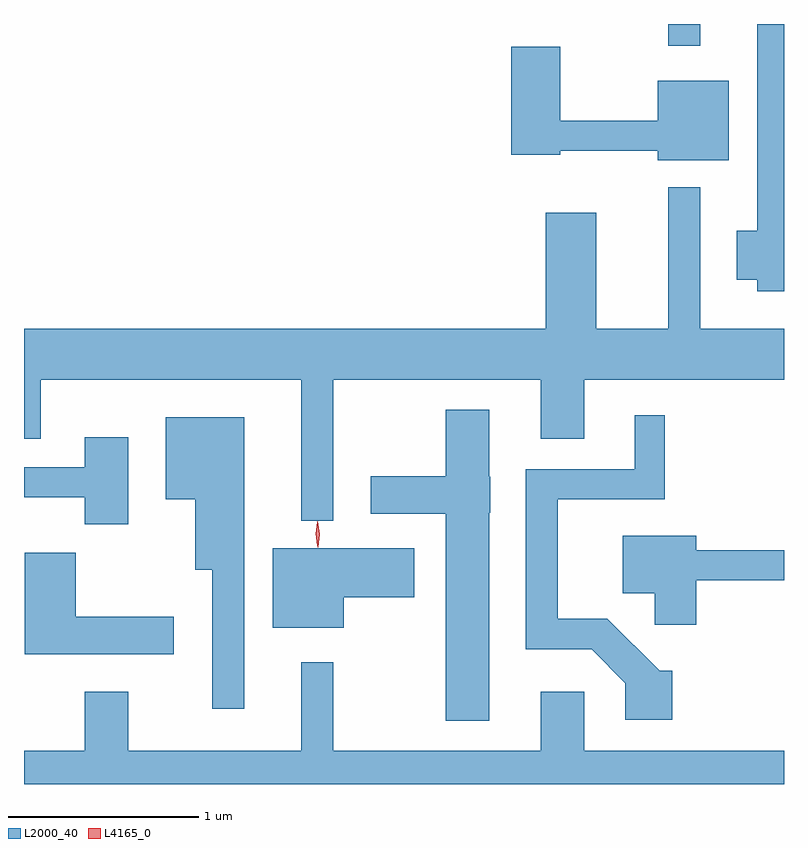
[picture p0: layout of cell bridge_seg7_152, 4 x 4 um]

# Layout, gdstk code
import gdstk
lib = gdstk.Library(unit=1e-6, precision=1e-09)
def R(c, l, rs):  # rectangles x0, y0, x1, y1
    for r in rs: c.add(gdstk.rectangle(r[:2], r[2:], *l))
def P(c, l, *ps):  # polygons
    for p in ps: c.add(gdstk.Polygon(p, *l))
L2000_40 = (2000, 40)
L4165_0 = (4165, 0)

bridge_seg7_152 = lib.new_cell('bridge_seg7_152')
R(bridge_seg7_152, L2000_40, [(1634.301,1720.513,1634.469,1720.628)])
P(bridge_seg7_152, L2000_40, [(1634.911,1720.628),(1634.771,1720.628),(1634.771,1719.539),(1634.661,1719.539),(1634.661,1719.281),(1634.771,1719.281),(1634.771,1719.221),(1634.911,1719.221)],
  [(1634.619,1720.329),(1634.246,1720.329),(1634.246,1720.119),(1633.734,1720.119),(1633.734,1720.509),(1633.476,1720.509),(1633.476,1719.941),(1633.734,1719.941),(1633.734,1719.961),(1634.246,1719.961),(1634.246,1719.911),(1634.619,1719.911)],
  [(1632.539,1718.756),(1633.631,1718.756),(1633.631,1718.446),(1633.859,1718.446),(1633.859,1718.756),(1634.911,1718.756),(1634.911,1719.024),(1634.469,1719.024),(1634.469,1719.768),(1634.301,1719.768),(1634.301,1719.024),(1633.924,1719.024),(1633.924,1719.634),(1633.656,1719.634),(1633.656,1719.024),(1630.911,1719.024),(1630.911,1718.446),(1630.999,1718.446),(1630.999,1718.756),(1632.371,1718.756),(1632.371,1718.013),(1632.539,1718.013)],
  [(1633.359,1718.055),(1633.364,1718.055),(1633.364,1718.245),(1633.359,1718.245),(1633.359,1718.599),(1633.131,1718.599),(1633.131,1718.249),(1632.736,1718.249),(1632.736,1718.051),(1633.131,1718.051),(1633.131,1716.961),(1633.359,1716.961)],
  [(1634.324,1717.224),(1634.257,1717.224),(1633.982,1717.499),(1633.719,1717.499),(1633.719,1718.126),(1634.284,1718.126),(1634.284,1718.568),(1634.126,1718.568),(1634.126,1718.284),(1633.551,1718.284),(1633.551,1717.336),(1633.899,1717.336),(1634.076,1717.159),(1634.076,1716.966),(1634.324,1716.966)],
  [(1632.069,1718.559),(1631.656,1718.559),(1631.656,1718.126),(1631.811,1718.126),(1631.811,1717.756),(1631.901,1717.756),(1631.901,1717.023),(1632.069,1717.023)],
  [(1631.459,1718.454),(1631.231,1718.454),(1631.231,1718.294),(1630.911,1718.294),(1630.911,1718.136),(1631.231,1718.136),(1631.231,1717.996),(1631.459,1717.996)],
  [(1634.449,1717.701),(1634.911,1717.701),(1634.911,1717.859),(1634.449,1717.859),(1634.449,1717.934),(1634.061,1717.934),(1634.061,1717.631),(1634.231,1717.631),(1634.231,1717.466),(1634.449,1717.466)],
  [(1632.594,1717.611),(1632.964,1717.611),(1632.964,1717.869),(1632.221,1717.869),(1632.221,1717.451),(1632.594,1717.451)],
  [(1631.699,1717.509),(1631.184,1717.509),(1631.184,1717.844),(1630.916,1717.844),(1630.916,1717.311),(1631.699,1717.311)],
  [(1634.911,1716.804),(1633.859,1716.804),(1633.859,1717.114),(1633.631,1717.114),(1633.631,1716.804),(1632.539,1716.804),(1632.539,1717.268),(1632.371,1717.268),(1632.371,1716.804),(1631.459,1716.804),(1631.459,1717.114),(1631.231,1717.114),(1631.231,1716.804),(1630.911,1716.804),(1630.911,1716.628),(1634.911,1716.628)])
P(bridge_seg7_152, L4165_0, [(1632.458,1717.874),(1632.458,1717.874),(1632.448,1717.942),(1632.457,1718.01),(1632.458,1718.01),(1632.458,1718.01),(1632.468,1717.942),(1632.459,1717.874)],
  [(1632.456,1717.88),(1632.455,1717.881),(1632.446,1717.944),(1632.455,1718.006),(1632.455,1718.007),(1632.456,1718.006),(1632.465,1717.944),(1632.456,1717.881)])

lib.write_gds('bridge_seg7_152.gds')
